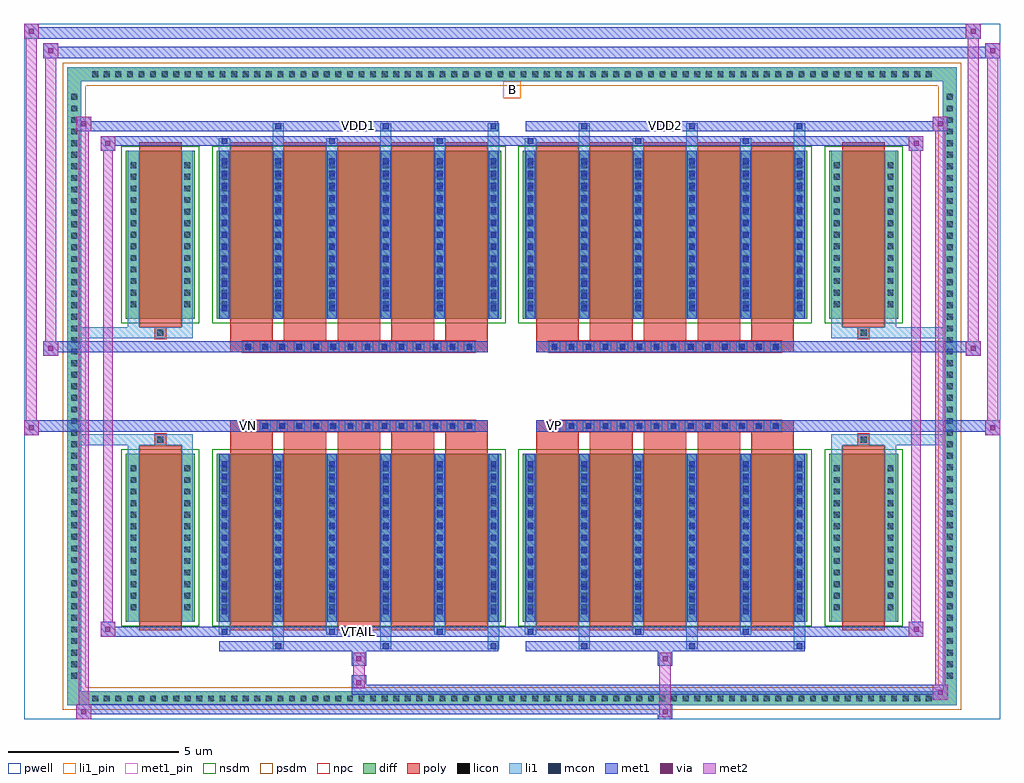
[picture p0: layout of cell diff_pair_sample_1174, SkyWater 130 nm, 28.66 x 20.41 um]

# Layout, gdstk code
import gdstk
lib = gdstk.Library(unit=1e-6, precision=5e-09)
def R(c, l, rs):  # rectangles x0, y0, x1, y1
    for r in rs: c.add(gdstk.rectangle(r[:2], r[2:], *l))
def A(c, l, x, y, w, h, nx, ny, dx, dy):  # array of equal rectangles
    R(c, l, [(x+i*dx, y+j*dy, x+i*dx+w, y+j*dy+h) for i in range(nx) for j in range(ny)])
def P(c, l, *ps):  # polygons
    for p in ps: c.add(gdstk.Polygon(p, *l))
pwell = (64, 44)
diff = (65, 20)
poly = (66, 20)
licon = (66, 44)
li1_pin = (67, 16)
li1 = (67, 20)
mcon = (67, 44)
met1_pin = (68, 16)
met1 = (68, 20)
via = (68, 44)
met2 = (69, 20)
nsdm = (93, 44)
psdm = (94, 20)
npc = (95, 20)

diff_pair_sample_1174 = lib.new_cell('diff_pair_sample_1174')
R(diff_pair_sample_1174, pwell, [(-14.33,-9.77,14.33,10.64), (-11.65,-7.96,-0.01,-0.8), (0.01,-7.96,11.65,-0.8), (-11.65,0.8,-0.01,7.96), (0.01,0.8,11.65,7.96)])
A(diff_pair_sample_1174, diff, -12.445, -9.37, 0.41, 0.41, 73, 2, 0.34, 18.33)
A(diff_pair_sample_1174, diff, -13.06, -8.705, 0.41, 0.41, 1, 51, 0, 0.34)
A(diff_pair_sample_1174, diff, 12.65, -8.705, 0.41, 0.41, 1, 51, 0, 0.34)
R(diff_pair_sample_1174, diff, [(-12.445,-9.37,12.445,-8.96), (-13.06,-8.705,-12.65,8.705), (12.65,-8.705,13.06,8.705), (-11.34,-6.915,-9.31,-1.985), (-8.67,-6.915,-0.32,-1.985), (0.32,-6.915,8.67,-1.985), (9.31,-6.915,11.34,-1.985), (-11.34,1.985,-9.31,6.915), (-8.67,1.985,-0.32,6.915), (0.32,1.985,8.67,6.915), (9.31,1.985,11.34,6.915), (-12.445,8.96,12.445,9.37)])
P(diff_pair_sample_1174, diff, [(13.06,9.37),(-13.06,9.37),(-13.06,-8.96),(-12.65,-8.96),(-12.65,8.96),(12.65,8.96),(12.65,-8.96),(-12.65,-8.96),(-13.06,-8.96),(-13.06,-9.37),(13.06,-9.37)])
A(diff_pair_sample_1174, poly, -8.28, -7.165, 1.25, 5.43, 5, 2, 1.58, 8.9)
A(diff_pair_sample_1174, poly, 0.71, -7.165, 1.25, 5.43, 5, 2, 1.58, 8.9)
A(diff_pair_sample_1174, poly, -8.28, -1.735, 1.25, 0.405, 5, 2, 1.58, 3.065)
A(diff_pair_sample_1174, poly, 0.71, -1.735, 1.25, 0.405, 5, 2, 1.58, 3.065)
A(diff_pair_sample_1174, poly, -7.91, -1.33, 0.33, 0.33, 14, 2, 0.5, 2.33)
A(diff_pair_sample_1174, poly, 1.08, -1.33, 0.33, 0.33, 14, 2, 0.5, 2.33)
R(diff_pair_sample_1174, poly, [(-10.95,-7.165,-9.7,-1.735), (9.7,-7.165,10.95,-1.735), (-10.49,-1.735,-10.16,-1.405), (-10.49,-1.735,-10.16,-1.405), (10.16,-1.735,10.49,-1.405), (10.16,-1.735,10.49,-1.405), (-8.28,-1.33,-0.71,-1), (0.71,-1.33,8.28,-1), (-8.28,1,-0.71,1.33), (0.71,1,8.28,1.33), (-10.49,1.405,-10.16,1.735), (-10.49,1.405,-10.16,1.735), (10.16,1.405,10.49,1.735), (10.16,1.405,10.49,1.735), (-10.95,1.735,-9.7,7.165), (9.7,1.735,10.95,7.165)])
A(diff_pair_sample_1174, licon, -12.325, -9.25, 0.17, 0.17, 73, 2, 0.34, 18.33)
A(diff_pair_sample_1174, licon, -12.94, -8.585, 0.17, 0.17, 1, 51, 0, 0.34)
A(diff_pair_sample_1174, licon, 12.77, -8.585, 0.17, 0.17, 1, 51, 0, 0.34)
A(diff_pair_sample_1174, licon, -11.2, -6.575, 0.17, 0.17, 1, 13, 0, 0.34)
A(diff_pair_sample_1174, licon, -9.62, -6.575, 0.17, 0.17, 1, 13, 0, 0.34)
A(diff_pair_sample_1174, licon, -8.53, -6.575, 0.17, 0.17, 6, 13, 1.58, 0.34)
A(diff_pair_sample_1174, licon, 0.46, -6.575, 0.17, 0.17, 6, 13, 1.58, 0.34)
A(diff_pair_sample_1174, licon, 9.45, -6.575, 0.17, 0.17, 1, 13, 0, 0.34)
A(diff_pair_sample_1174, licon, 11.03, -6.575, 0.17, 0.17, 1, 13, 0, 0.34)
A(diff_pair_sample_1174, licon, -7.83, -1.25, 0.17, 0.17, 14, 2, 0.5, 2.33)
A(diff_pair_sample_1174, licon, 1.16, -1.25, 0.17, 0.17, 14, 2, 0.5, 2.33)
A(diff_pair_sample_1174, licon, -11.2, 2.325, 0.17, 0.17, 1, 13, 0, 0.34)
A(diff_pair_sample_1174, licon, -9.62, 2.325, 0.17, 0.17, 1, 13, 0, 0.34)
A(diff_pair_sample_1174, licon, -8.53, 2.325, 0.17, 0.17, 6, 13, 1.58, 0.34)
A(diff_pair_sample_1174, licon, 0.46, 2.325, 0.17, 0.17, 6, 13, 1.58, 0.34)
A(diff_pair_sample_1174, licon, 9.45, 2.325, 0.17, 0.17, 1, 13, 0, 0.34)
A(diff_pair_sample_1174, licon, 11.03, 2.325, 0.17, 0.17, 1, 13, 0, 0.34)
R(diff_pair_sample_1174, licon, [(-10.41,-1.655,-10.24,-1.485), (10.24,-1.655,10.41,-1.485), (-10.41,1.485,-10.24,1.655), (10.24,1.485,10.41,1.655)])
R(diff_pair_sample_1174, li1_pin, [(-0.25,8.46,0.25,8.96)])
A(diff_pair_sample_1174, li1, -12.405, -9.33, 0.33, 0.33, 73, 2, 0.34, 18.33)
A(diff_pair_sample_1174, li1, -13.02, -8.665, 0.33, 0.33, 1, 51, 0, 0.34)
A(diff_pair_sample_1174, li1, 12.69, -8.665, 0.33, 0.33, 1, 51, 0, 0.34)
A(diff_pair_sample_1174, li1, -7.03, -7.72, 0.33, 0.805, 3, 2, 3.16, 14.635)
A(diff_pair_sample_1174, li1, -6.95, -7.72, 0.17, 0.17, 3, 2, 3.16, 15.27)
A(diff_pair_sample_1174, li1, 1.96, -7.72, 0.33, 0.805, 3, 2, 3.16, 14.635)
A(diff_pair_sample_1174, li1, 2.04, -7.72, 0.17, 0.17, 3, 2, 3.16, 15.27)
A(diff_pair_sample_1174, li1, -8.61, -7.29, 0.33, 0.375, 3, 2, 3.16, 14.205)
A(diff_pair_sample_1174, li1, -8.53, -7.29, 0.17, 0.17, 3, 2, 3.16, 14.41)
A(diff_pair_sample_1174, li1, 0.38, -7.29, 0.33, 0.375, 3, 2, 3.16, 14.205)
A(diff_pair_sample_1174, li1, 0.46, -7.29, 0.17, 0.17, 3, 2, 3.16, 14.41)
A(diff_pair_sample_1174, li1, -8.61, -6.915, 0.33, 4.93, 6, 2, 1.58, 8.9)
A(diff_pair_sample_1174, li1, 0.38, -6.915, 0.33, 4.93, 6, 2, 1.58, 8.9)
A(diff_pair_sample_1174, li1, -8.53, -6.695, 0.17, 0.17, 6, 13, 1.58, 0.36)
A(diff_pair_sample_1174, li1, -8.53, -6.695, 0.17, 4.49, 6, 2, 1.58, 8.9)
A(diff_pair_sample_1174, li1, 0.46, -6.695, 0.17, 0.17, 6, 13, 1.58, 0.36)
A(diff_pair_sample_1174, li1, 0.46, -6.695, 0.17, 4.49, 6, 2, 1.58, 8.9)
A(diff_pair_sample_1174, li1, -11.28, -6.655, 0.33, 0.33, 1, 13, 0, 0.34)
A(diff_pair_sample_1174, li1, -9.7, -6.655, 0.33, 0.33, 1, 13, 0, 0.34)
A(diff_pair_sample_1174, li1, -8.61, -6.655, 0.33, 0.33, 6, 13, 1.58, 0.34)
A(diff_pair_sample_1174, li1, 0.38, -6.655, 0.33, 0.33, 6, 13, 1.58, 0.34)
A(diff_pair_sample_1174, li1, 9.37, -6.655, 0.33, 0.33, 1, 13, 0, 0.34)
A(diff_pair_sample_1174, li1, 10.95, -6.655, 0.33, 0.33, 1, 13, 0, 0.34)
A(diff_pair_sample_1174, li1, -7.91, -1.33, 0.33, 0.33, 14, 2, 0.5, 2.33)
A(diff_pair_sample_1174, li1, 1.08, -1.33, 0.33, 0.33, 14, 2, 0.5, 2.33)
A(diff_pair_sample_1174, li1, -8.53, 2.205, 0.17, 0.17, 6, 13, 1.58, 0.36)
A(diff_pair_sample_1174, li1, 0.46, 2.205, 0.17, 0.17, 6, 13, 1.58, 0.36)
A(diff_pair_sample_1174, li1, -11.28, 2.245, 0.33, 0.33, 1, 13, 0, 0.34)
A(diff_pair_sample_1174, li1, -9.7, 2.245, 0.33, 0.33, 1, 13, 0, 0.34)
A(diff_pair_sample_1174, li1, -8.61, 2.245, 0.33, 0.33, 6, 13, 1.58, 0.34)
A(diff_pair_sample_1174, li1, 0.38, 2.245, 0.33, 0.33, 6, 13, 1.58, 0.34)
A(diff_pair_sample_1174, li1, 9.37, 2.245, 0.33, 0.33, 1, 13, 0, 0.34)
A(diff_pair_sample_1174, li1, 10.95, 2.245, 0.33, 0.33, 1, 13, 0, 0.34)
R(diff_pair_sample_1174, li1, [(-13.06,-9.37,-12.65,-8.96), (-13.06,-9.37,-12.65,-8.96), (-12.65,-9.37,12.65,-8.96), (12.65,-9.37,13.06,-8.96), (12.65,-9.37,13.06,-8.96), (-13.06,-8.96,-12.65,8.96), (12.65,-8.96,13.06,8.96), (-11.28,-6.915,-10.95,-1.985), (-9.7,-6.915,-9.37,-1.985), (9.37,-6.915,9.7,-1.985), (10.95,-6.915,11.28,-1.985), (-11.28,-1.985,-10.95,-1.405), (-9.7,-1.985,-9.37,-1.405), (9.37,-1.985,9.7,-1.405), (10.95,-1.985,11.28,-1.405), (-13.06,-1.735,-10.49,-1.405), (-11.28,-1.735,-10.49,-1.405), (-10.49,-1.735,-10.16,-1.405), (-10.16,-1.735,-9.37,-1.405), (9.37,-1.735,10.16,-1.405), (10.16,-1.735,10.49,-1.405), (10.16,-1.735,13.06,-1.405), (10.49,-1.735,11.28,-1.405), (-13.06,1.405,-10.49,1.735), (-11.28,1.405,-10.49,1.735), (-11.28,1.405,-10.95,1.985), (-10.49,1.405,-10.16,1.735), (-10.16,1.405,-9.37,1.735), (-9.7,1.405,-9.37,1.985), (9.37,1.405,10.16,1.735), (9.37,1.405,9.7,1.985), (10.16,1.405,10.49,1.735), (10.16,1.405,13.06,1.735), (10.49,1.405,11.28,1.735), (10.95,1.405,11.28,1.985), (-11.28,1.985,-10.95,6.915), (-9.7,1.985,-9.37,6.915), (9.37,1.985,9.7,6.915), (10.95,1.985,11.28,6.915), (-13.06,8.96,-12.65,9.37), (-13.06,8.96,-12.65,9.37), (-12.65,8.96,12.65,9.37), (12.65,8.96,13.06,9.37), (12.65,8.96,13.06,9.37)])
A(diff_pair_sample_1174, mcon, -6.95, -7.72, 0.17, 0.17, 3, 2, 3.16, 15.27)
A(diff_pair_sample_1174, mcon, 2.04, -7.72, 0.17, 0.17, 3, 2, 3.16, 15.27)
A(diff_pair_sample_1174, mcon, -8.53, -7.29, 0.17, 0.17, 3, 2, 3.16, 14.41)
A(diff_pair_sample_1174, mcon, 0.46, -7.29, 0.17, 0.17, 3, 2, 3.16, 14.41)
A(diff_pair_sample_1174, mcon, -8.53, -6.695, 0.17, 0.17, 6, 13, 1.58, 0.36)
A(diff_pair_sample_1174, mcon, 0.46, -6.695, 0.17, 0.17, 6, 13, 1.58, 0.36)
A(diff_pair_sample_1174, mcon, -7.83, -1.25, 0.17, 0.17, 14, 2, 0.5, 2.33)
A(diff_pair_sample_1174, mcon, 1.16, -1.25, 0.17, 0.17, 14, 2, 0.5, 2.33)
A(diff_pair_sample_1174, mcon, -8.53, 2.205, 0.17, 0.17, 6, 13, 1.58, 0.36)
A(diff_pair_sample_1174, mcon, 0.46, 2.205, 0.17, 0.17, 6, 13, 1.58, 0.36)
R(diff_pair_sample_1174, met1_pin, [(-4.63,-7.33,-4.36,-7.06), (-7.88,-1.29,-7.61,-1.02), (1.11,-1.29,1.38,-1.02), (-4.63,7.51,-4.36,7.78), (4.36,7.51,4.63,7.78)])
A(diff_pair_sample_1174, met1, -7.01, -7.78, 0.29, 0.29, 3, 2, 3.16, 15.27)
A(diff_pair_sample_1174, met1, 1.98, -7.78, 0.29, 0.29, 3, 2, 3.16, 15.27)
A(diff_pair_sample_1174, met1, -8.59, -7.35, 0.29, 0.29, 3, 2, 3.16, 14.41)
A(diff_pair_sample_1174, met1, 0.4, -7.35, 0.29, 0.29, 3, 2, 3.16, 14.41)
A(diff_pair_sample_1174, met1, -8.59, -6.915, 0.29, 4.93, 6, 2, 1.58, 8.9)
A(diff_pair_sample_1174, met1, 0.4, -6.915, 0.29, 4.93, 6, 2, 1.58, 8.9)
A(diff_pair_sample_1174, met1, -8.59, -6.755, 0.29, 0.29, 6, 13, 1.58, 0.36)
A(diff_pair_sample_1174, met1, 0.4, -6.755, 0.29, 0.29, 6, 13, 1.58, 0.36)
A(diff_pair_sample_1174, met1, -7.89, -1.31, 0.29, 0.29, 14, 2, 0.5, 2.33)
A(diff_pair_sample_1174, met1, 1.1, -1.31, 0.29, 0.29, 14, 2, 0.5, 2.33)
A(diff_pair_sample_1174, met1, -8.59, 2.145, 0.29, 0.29, 6, 13, 1.58, 0.36)
A(diff_pair_sample_1174, met1, 0.4, 2.145, 0.29, 0.29, 6, 13, 1.58, 0.36)
R(diff_pair_sample_1174, met1, [(-12.79,-9.77,-12.36,-9.34), (4.28,-9.77,4.71,-9.34), (-12.79,-9.63,4.71,-9.34), (12.36,-9.2,12.79,-8.77), (-4.71,-9.06,12.79,-8.77), (-4.71,-8.92,-4.28,-8.49), (-4.71,-8.21,-4.28,-7.78), (4.28,-8.21,4.71,-7.78), (-8.59,-7.78,-0.4,-7.49), (0.4,-7.78,8.59,-7.49), (-12.08,-7.35,-11.65,-6.92), (-12.08,-7.35,-8.59,-7.06), (-8.59,-7.35,-0.4,-7.06), (-0.4,-7.35,0.4,-7.06), (0.4,-7.35,8.59,-7.06), (8.59,-7.35,12.08,-7.06), (11.65,-7.35,12.08,-6.92), (-14.33,-1.43,-13.9,-1), (13.9,-1.43,14.33,-1), (-14.33,-1.33,-0.71,-1), (-8.28,-1.33,-0.71,-1), (0.71,-1.33,8.28,-1), (0.71,-1.33,14.33,-1), (-13.76,0.9,-13.33,1.33), (13.33,0.9,13.76,1.33), (-13.76,1,-8.28,1.33), (-8.28,1,-0.71,1.33), (0.71,1,8.28,1.33), (8.28,1,13.76,1.33), (-12.08,6.92,-11.65,7.35), (11.65,6.92,12.08,7.35), (-12.08,7.06,-8.59,7.35), (-8.59,7.06,-0.4,7.35), (-0.4,7.06,0.4,7.35), (0.4,7.06,8.59,7.35), (8.59,7.06,12.08,7.35), (-12.79,7.49,-12.36,7.92), (-12.79,7.49,-8.59,7.78), (-8.59,7.49,-0.4,7.78), (0.4,7.49,8.59,7.78), (8.59,7.49,12.79,7.78), (12.36,7.49,12.79,7.92), (-13.76,9.64,-13.33,10.07), (-13.76,9.64,-11.65,9.97), (-11.65,9.64,11.65,9.97), (11.65,9.64,14.33,9.97), (13.9,9.64,14.33,10.07), (-14.33,10.21,-13.9,10.64), (-14.33,10.21,-11.65,10.54), (-11.65,10.21,11.65,10.54), (11.65,10.21,13.76,10.54), (13.33,10.21,13.76,10.64)])
R(diff_pair_sample_1174, via, [(-12.65,-9.63,-12.5,-9.48), (4.42,-9.63,4.57,-9.48), (12.5,-9.06,12.65,-8.91), (-4.57,-8.78,-4.42,-8.63), (-4.57,-8.07,-4.42,-7.92), (4.42,-8.07,4.57,-7.92), (-11.94,-7.21,-11.79,-7.06), (11.79,-7.21,11.94,-7.06), (-14.19,-1.29,-14.04,-1.14), (14.04,-1.29,14.19,-1.14), (-13.62,1.04,-13.47,1.19), (13.47,1.04,13.62,1.19), (-11.94,7.06,-11.79,7.21), (11.79,7.06,11.94,7.21), (-12.65,7.63,-12.5,7.78), (12.5,7.63,12.65,7.78), (-13.62,9.78,-13.47,9.93), (14.04,9.78,14.19,9.93), (-14.19,10.35,-14.04,10.5), (13.47,10.35,13.62,10.5)])
R(diff_pair_sample_1174, met2, [(-12.79,-9.77,-12.36,-9.34), (-12.72,-9.77,-12.43,7.92), (-12.43,-9.77,-12.36,-9.34), (-12.74,-9.72,-12.41,-9.39), (4.33,-9.72,4.66,-9.39), (4.33,-9.39,4.66,-8.16), (12.36,-9.2,12.79,-8.77), (12.43,-9.2,12.72,7.92), (12.72,-9.2,12.79,-8.77), (12.41,-9.15,12.74,-8.82), (-4.66,-8.87,-4.33,-8.54), (-4.66,-8.54,-4.33,-8.16), (-4.66,-8.16,-4.33,-7.83), (4.33,-8.16,4.66,-7.83), (-12.08,-7.35,-11.65,-6.92), (-12.01,-7.35,-11.72,7.35), (-11.72,-7.35,-11.65,-6.92), (11.65,-7.35,12.08,-6.92), (11.72,-7.35,12.01,7.35), (12.01,-7.35,12.08,-6.92), (-12.03,-7.3,-11.7,-6.97), (11.7,-7.3,12.03,-6.97), (-14.33,-1.43,-13.9,-1), (-14.28,-1.43,-13.95,10.64), (-13.95,-1.43,-13.9,-1), (13.9,-1.43,14.33,-1), (13.95,-1.43,14.28,10.07), (14.28,-1.43,14.33,-1), (-14.28,-1.38,-13.95,-1.05), (13.95,-1.38,14.28,-1.05), (-13.76,0.9,-13.33,1.33), (-13.71,0.9,-13.38,10.07), (-13.38,0.9,-13.33,1.33), (13.33,0.9,13.76,1.33), (13.38,0.9,13.71,10.64), (13.71,0.9,13.76,1.33), (-13.71,0.95,-13.38,1.28), (13.38,0.95,13.71,1.28), (-12.08,6.92,-11.65,7.35), (-11.72,6.92,-11.65,7.35), (11.65,6.92,12.08,7.35), (12.01,6.92,12.08,7.35), (-12.03,6.97,-11.7,7.3), (11.7,6.97,12.03,7.3), (-12.79,7.49,-12.36,7.92), (-12.43,7.49,-12.36,7.92), (12.36,7.49,12.79,7.92), (12.72,7.49,12.79,7.92), (-12.74,7.54,-12.41,7.87), (12.41,7.54,12.74,7.87), (-13.76,9.64,-13.33,10.07), (-13.38,9.64,-13.33,10.07), (13.9,9.64,14.33,10.07), (14.28,9.64,14.33,10.07), (-13.71,9.69,-13.38,10.02), (13.95,9.69,14.28,10.02), (-14.33,10.21,-13.9,10.64), (-13.95,10.21,-13.9,10.64), (13.33,10.21,13.76,10.64), (13.71,10.21,13.76,10.64), (-14.28,10.26,-13.95,10.59), (13.38,10.26,13.71,10.59)])
R(diff_pair_sample_1174, nsdm, [(-11.47,-7.045,-9.18,-1.855), (-8.8,-7.045,-0.19,-1.855), (0.19,-7.045,8.8,-1.855), (9.18,-7.045,11.47,-1.855), (-11.47,1.855,-9.18,7.045), (-8.8,1.855,-0.19,7.045), (0.19,1.855,8.8,7.045), (9.18,1.855,11.47,7.045)])
P(diff_pair_sample_1174, psdm, [(13.19,9.5),(-13.19,9.5),(-13.19,-8.83),(-12.52,-8.83),(-12.52,8.83),(12.52,8.83),(12.52,-8.83),(-12.52,-8.83),(-13.19,-8.83),(-13.19,-9.5),(13.19,-9.5)])
A(diff_pair_sample_1174, npc, -7.93, -1.35, 0.37, 0.37, 14, 2, 0.5, 2.33)
A(diff_pair_sample_1174, npc, 1.06, -1.35, 0.37, 0.37, 14, 2, 0.5, 2.33)
R(diff_pair_sample_1174, npc, [(-10.51,-1.755,-10.14,-1.385), (10.14,-1.755,10.51,-1.385), (-7.93,-1.35,-7.06,-0.98), (-7.93,-1.35,-7.06,-0.98), (-7.43,-1.35,-6.56,-0.98), (-7.43,-1.35,-6.56,-0.98), (-6.93,-1.35,-6.06,-0.98), (-6.93,-1.35,-6.06,-0.98), (-6.43,-1.35,-5.56,-0.98), (-6.43,-1.35,-5.56,-0.98), (-5.93,-1.35,-5.06,-0.98), (-5.93,-1.35,-5.06,-0.98), (-5.43,-1.35,-4.56,-0.98), (-5.43,-1.35,-4.56,-0.98), (-4.93,-1.35,-4.06,-0.98), (-4.93,-1.35,-4.06,-0.98), (-4.43,-1.35,-3.56,-0.98), (-4.43,-1.35,-3.56,-0.98), (-3.93,-1.35,-3.06,-0.98), (-3.93,-1.35,-3.06,-0.98), (-3.43,-1.35,-2.56,-0.98), (-3.43,-1.35,-2.56,-0.98), (-2.93,-1.35,-2.06,-0.98), (-2.93,-1.35,-2.06,-0.98), (-2.43,-1.35,-1.56,-0.98), (-2.43,-1.35,-1.56,-0.98), (-1.93,-1.35,-1.06,-0.98), (-1.93,-1.35,-1.06,-0.98), (1.06,-1.35,1.93,-0.98), (1.06,-1.35,1.93,-0.98), (1.56,-1.35,2.43,-0.98), (1.56,-1.35,2.43,-0.98), (2.06,-1.35,2.93,-0.98), (2.06,-1.35,2.93,-0.98), (2.56,-1.35,3.43,-0.98), (2.56,-1.35,3.43,-0.98), (3.06,-1.35,3.93,-0.98), (3.06,-1.35,3.93,-0.98), (3.56,-1.35,4.43,-0.98), (3.56,-1.35,4.43,-0.98), (4.06,-1.35,4.93,-0.98), (4.06,-1.35,4.93,-0.98), (4.56,-1.35,5.43,-0.98), (4.56,-1.35,5.43,-0.98), (5.06,-1.35,5.93,-0.98), (5.06,-1.35,5.93,-0.98), (5.56,-1.35,6.43,-0.98), (5.56,-1.35,6.43,-0.98), (6.06,-1.35,6.93,-0.98), (6.06,-1.35,6.93,-0.98), (6.56,-1.35,7.43,-0.98), (6.56,-1.35,7.43,-0.98), (7.06,-1.35,7.93,-0.98), (7.06,-1.35,7.93,-0.98), (-7.93,0.98,-7.06,1.35), (-7.93,0.98,-7.06,1.35), (-7.43,0.98,-6.56,1.35), (-7.43,0.98,-6.56,1.35), (-6.93,0.98,-6.06,1.35), (-6.93,0.98,-6.06,1.35), (-6.43,0.98,-5.56,1.35), (-6.43,0.98,-5.56,1.35), (-5.93,0.98,-5.06,1.35), (-5.93,0.98,-5.06,1.35), (-5.43,0.98,-4.56,1.35), (-5.43,0.98,-4.56,1.35), (-4.93,0.98,-4.06,1.35), (-4.93,0.98,-4.06,1.35), (-4.43,0.98,-3.56,1.35), (-4.43,0.98,-3.56,1.35), (-3.93,0.98,-3.06,1.35), (-3.93,0.98,-3.06,1.35), (-3.43,0.98,-2.56,1.35), (-3.43,0.98,-2.56,1.35), (-2.93,0.98,-2.06,1.35), (-2.93,0.98,-2.06,1.35), (-2.43,0.98,-1.56,1.35), (-2.43,0.98,-1.56,1.35), (-1.93,0.98,-1.06,1.35), (-1.93,0.98,-1.06,1.35), (1.06,0.98,1.93,1.35), (1.06,0.98,1.93,1.35), (1.56,0.98,2.43,1.35), (1.56,0.98,2.43,1.35), (2.06,0.98,2.93,1.35), (2.06,0.98,2.93,1.35), (2.56,0.98,3.43,1.35), (2.56,0.98,3.43,1.35), (3.06,0.98,3.93,1.35), (3.06,0.98,3.93,1.35), (3.56,0.98,4.43,1.35), (3.56,0.98,4.43,1.35), (4.06,0.98,4.93,1.35), (4.06,0.98,4.93,1.35), (4.56,0.98,5.43,1.35), (4.56,0.98,5.43,1.35), (5.06,0.98,5.93,1.35), (5.06,0.98,5.93,1.35), (5.56,0.98,6.43,1.35), (5.56,0.98,6.43,1.35), (6.06,0.98,6.93,1.35), (6.06,0.98,6.93,1.35), (6.56,0.98,7.43,1.35), (6.56,0.98,7.43,1.35), (7.06,0.98,7.93,1.35), (7.06,0.98,7.93,1.35), (-10.51,1.385,-10.14,1.755), (10.14,1.385,10.51,1.755)])
diff_pair_sample_1174.add(gdstk.Label('VTAIL', (-4.495,-7.195), layer=68, texttype=5))
diff_pair_sample_1174.add(gdstk.Label('VN', (-7.745,-1.155), layer=68, texttype=5))
diff_pair_sample_1174.add(gdstk.Label('VP', (1.245,-1.155), layer=68, texttype=5))
diff_pair_sample_1174.add(gdstk.Label('B', (0,8.71), layer=67, texttype=5))
diff_pair_sample_1174.add(gdstk.Label('VDD2', (4.495,7.645), layer=68, texttype=5))
diff_pair_sample_1174.add(gdstk.Label('VDD1', (-4.495,7.645), layer=68, texttype=5))

lib.write_gds('diff_pair_sample_1174.gds')
